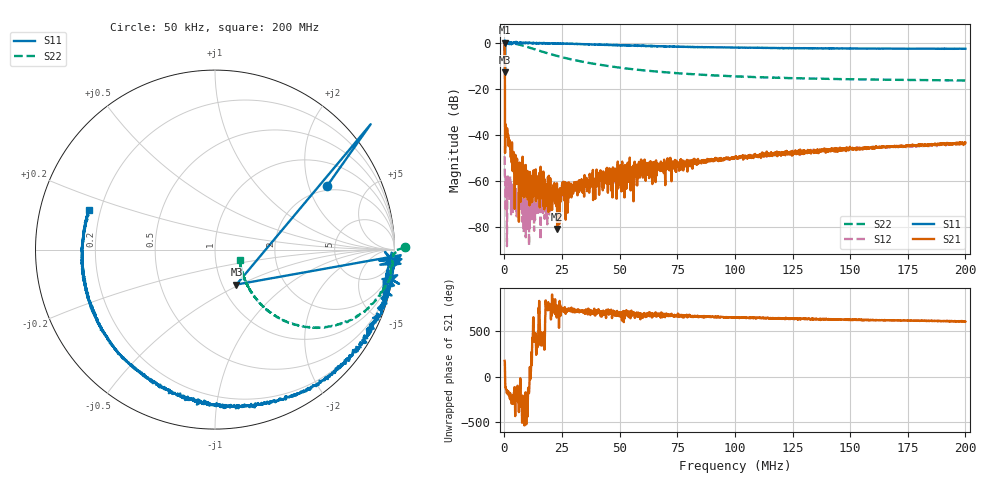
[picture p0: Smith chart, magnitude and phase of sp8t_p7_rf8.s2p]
! 26-Feb-26 1:06:15 PM
! E:\VNA_MEASUREMENTS\SP8T\SP8T_P7_RF8.S2P
! CHANNEL.1
! TR.MEASUREMENT
! CORRECTED.DATA
# GHZ S RI R 50.0
! FREQ.GHZ  S11RE  S11IM  S21RE  S21IM  S12RE  S12IM  S22RE  S22IM
!; PortSelection: Port_12
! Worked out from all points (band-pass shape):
!   2000 points, 50 kHz to 200 MHz, reference 50 ohm
!   highest |S21| = -0.01 dB at 150 kHz (marker M1); lowest = -80.9 dB at 22.86 MHz (marker M2)
!   |S21| within 3 dB of the highest: 113 kHz to 156.3 kHz (43.29 kHz wide, 32.1 % of centre)
!   lowest |S11| = -12.8 dB at 250 kHz (marker M3), VSWR 1.59, Z = 58.3 - j23.9 ohm
!   |S11| at or under -10 dB: 229.5 kHz to 271.6 kHz (42.05 kHz wide, 16.8 % of centre)
!   |S22| runs from -16.5 to 0.5 dB; largest |S21 - S12| = 1
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5e-05  0.6228 0.3521  -0.3917 0.0307  -0.00295 -0.00176  1.06 0.013
0.000150025  0.8674 0.6984  -0.9494 0.3105  -0.00055 0.00122  0.9988 -0.00704
0.00025005  0.1196 -0.1947  0.00259 0.00308  -0.00114 0.000396  1.006 -0.0182
0.0012503  0.9473 -0.0133  -0.0111 -0.0036  -6.66e-05 -0.000258  0.9895 -0.0888
0.002350575  0.9849 -0.0862  -0.00269 0.00457  -0.000915 -0.000208  0.9747 -0.1412
0.00345085  0.9528 -0.1464  -0.00152 0.000658  -3.4e-05 0.000424  0.9478 -0.211
0.006651651  0.9489 -0.2159  -0.00126 0.000282  -0.000274 -0.000338  0.8231 -0.353
0.01015253  0.9272 -0.3089  -0.000225 0.000322  4.42e-05 0.000706  0.6783 -0.4197
0.01275318  0.8977 -0.3806  -0.000205 0.000427  -4.05e-05 0.000478  0.5823 -0.4353
0.01585395  0.847 -0.4846  0.00112 0.00061  0.000263 0.000279  0.4886 -0.4261
0.01775443  0.8059 -0.5263  0.000234 -0.000155  0.000169 0.00012  0.441 -0.4167
0.02175543  0.7308 -0.611  0.000452 0.000162  0.000383 0.000268  0.3662 -0.3874
0.0228557  0.7092 -0.638  7.88e-05 4.48e-05  0.000394 0.000271  0.3488 -0.3758
0.02535633  0.6676 -0.6875  0.000511 0.000183  0.000598 0.000231  0.3173 -0.3578
0.02745685  0.6066 -0.7264  0.000878 0.000228  0.000607 0.000136  0.2962 -0.3403
0.03015753  0.5537 -0.7577  0.000929 7.51e-05  0.000758 7.7e-05  0.2716 -0.3197
0.03345835  0.4723 -0.798  0.000695 -6e-06  0.000748 0.000113  0.2503 -0.2973
0.06676668  -0.2119 -0.8097  0.00178 -0.00127  0.00136 -0.00124  0.1647 -0.1651
0.100075  -0.5762 -0.5318  0.00117 -0.00297  0.00108 -0.00292  0.1473 -0.113
0.1333833  -0.7143 -0.2377  0.000293 -0.00438  0.000214 -0.00422  0.1421 -0.086
0.1666917  -0.7398 0.0131  -0.000828 -0.00549  -0.000999 -0.00532  0.14 -0.07
0.2  -0.7007 0.2226  -0.00269 -0.00618  -0.00243 -0.00619  0.1392 -0.0577
